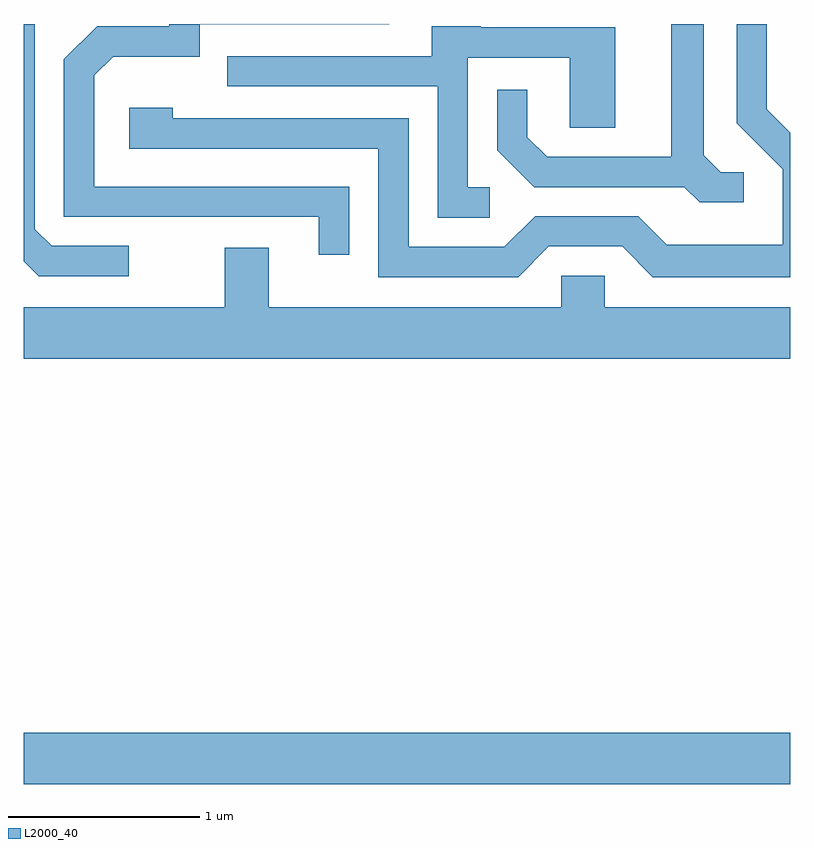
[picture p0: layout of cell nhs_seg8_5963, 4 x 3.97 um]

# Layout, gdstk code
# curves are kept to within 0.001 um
import gdstk
lib = gdstk.Library(unit=1e-6, precision=1e-09)
def R(c, l, rs):  # rectangles x0, y0, x1, y1
    for r in rs: c.add(gdstk.rectangle(r[:2], r[2:], *l))
def P(c, l, *ps):  # polygons
    for p in ps: c.add(gdstk.Polygon(p, *l))
L2000_40 = (2000, 40)

nhs_seg8_5963 = lib.new_cell('nhs_seg8_5963')
R(nhs_seg8_5963, L2000_40, [(363.611,1876.376,367.611,1876.644)])
P(nhs_seg8_5963, L2000_40, [(365.309,1879.494),(363.979,1879.494),(363.979,1880.074),(364.077,1880.171),(364.529,1880.171),(364.529,1880.341),(365.519,1880.342),(364.371,1880.342),(364.371,1880.329),(363.994,1880.329),(363.821,1880.157),(363.821,1879.336),(365.151,1879.336),(365.151,1879.138),(365.309,1879.138)],
  [(364.158,1879.184),(363.757,1879.184),(363.669,1879.272),(363.669,1880.342),(363.611,1880.342),(363.611,1879.104),(363.689,1879.026),(364.158,1879.026)],
  [(367.368,1879.569),(367.247,1879.569),(367.159,1879.657),(367.159,1880.342),(366.991,1880.342),(366.991,1879.649),(366.342,1879.649),(366.239,1879.752),(366.239,1879.998),(366.081,1879.998),(366.081,1879.684),(366.274,1879.491),(367.059,1879.491),(367.139,1879.411),(367.368,1879.411)],
  [(366.352,1879.181),(366.734,1879.181),(366.894,1879.021),(367.611,1879.021),(367.611,1879.775),(367.489,1879.897),(367.489,1880.342),(367.331,1880.342),(367.331,1879.824),(367.571,1879.584),(367.571,1879.189),(366.967,1879.189),(366.817,1879.339),(366.279,1879.339),(366.119,1879.179),(365.619,1879.179),(365.619,1879.849),(364.389,1879.849),(364.389,1879.904),(364.161,1879.904),(364.161,1879.691),(365.461,1879.691),(365.461,1879.021),(366.192,1879.021)],
  [(366.043,1879.489),(365.929,1879.489),(365.929,1880.166),(366.461,1880.166),(366.461,1879.801),(366.699,1879.801),(366.699,1880.324),(365.995,1880.324),(365.995,1880.329),(365.741,1880.329),(365.741,1880.174),(364.673,1880.174),(364.673,1880.016),(365.771,1880.016),(365.771,1879.331),(366.043,1879.331)],
  [(367.611,1878.864),(366.644,1878.864),(366.644,1879.029),(366.416,1879.029),(366.416,1878.864),(364.889,1878.864),(364.889,1879.174),(364.661,1879.174),(364.661,1878.864),(363.611,1878.864),(363.611,1878.596),(367.611,1878.596)])

lib.write_gds('nhs_seg8_5963.gds')
